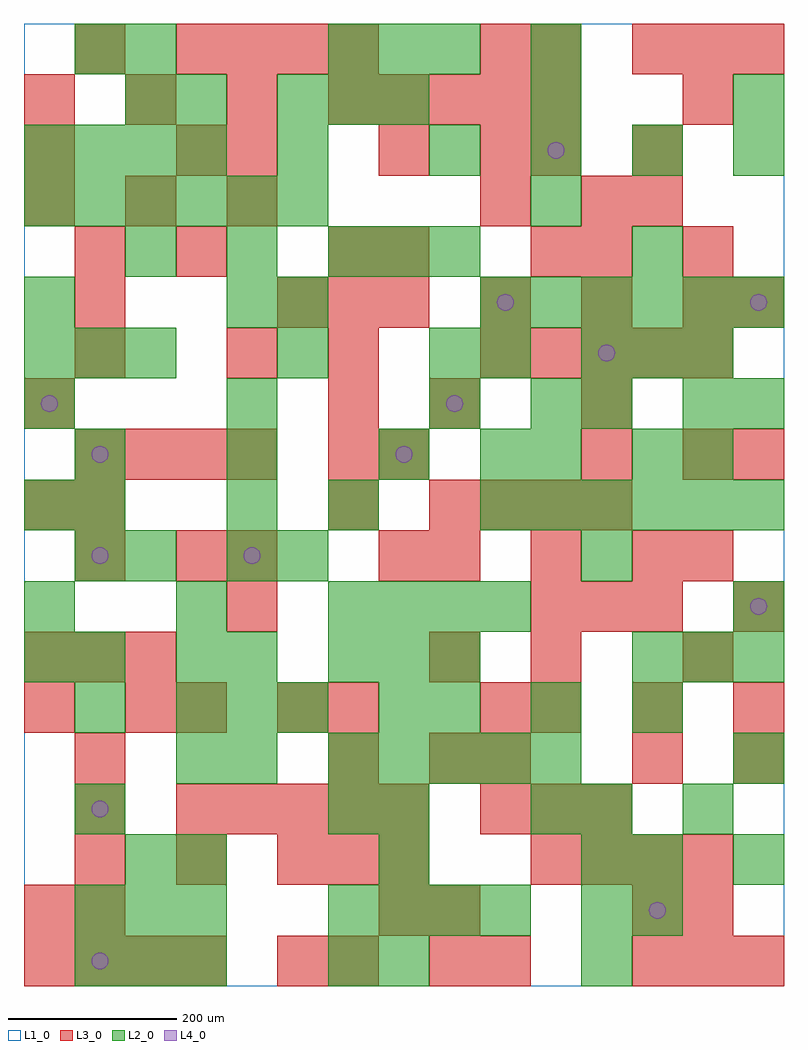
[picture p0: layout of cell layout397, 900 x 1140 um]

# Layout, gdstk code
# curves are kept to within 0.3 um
import gdstk
lib = gdstk.Library(unit=1e-6, precision=1e-09)
def R(c, l, rs):  # rectangles x0, y0, x1, y1
    for r in rs: c.add(gdstk.rectangle(r[:2], r[2:], *l))
def A(c, l, x, y, w, h, nx, ny, dx, dy):  # array of equal rectangles
    R(c, l, [(x+i*dx, y+j*dy, x+i*dx+w, y+j*dy+h) for i in range(nx) for j in range(ny)])
def P(c, l, *ps):  # polygons
    for p in ps: c.add(gdstk.Polygon(p, *l))
L1_0 = (1, 0)
L2_0 = (2, 0)
L3_0 = (3, 0)
L4_0 = (4, 0)

layout397 = lib.new_cell('layout397')
R(layout397, L1_0, [(0,0,900,1140)])
A(layout397, L2_0, 60, 0, 60, 60, 3, 2, 60, 60)
A(layout397, L2_0, 360, 60, 60, 60, 4, 1, 60, 0)
A(layout397, L2_0, 180, 120, 60, 60, 3, 1, 240, 0)
A(layout397, L2_0, 240, 240, 60, 60, 1, 3, 0, 120)
A(layout397, L2_0, 360, 240, 60, 60, 5, 1, 60, 0)
A(layout397, L2_0, 180, 300, 60, 60, 3, 1, 60, 0)
A(layout397, L2_0, 480, 300, 60, 60, 3, 1, 120, 0)
A(layout397, L2_0, 360, 360, 60, 60, 3, 2, 60, 720)
A(layout397, L2_0, 720, 360, 60, 60, 3, 1, 60, 0)
A(layout397, L2_0, 0, 420, 60, 60, 3, 1, 180, 0)
A(layout397, L2_0, 420, 420, 60, 60, 3, 1, 60, 0)
A(layout397, L2_0, 540, 540, 60, 60, 6, 2, 60, 240)
A(layout397, L2_0, 60, 600, 60, 60, 3, 1, 180, 0)
A(layout397, L2_0, 0, 660, 60, 60, 3, 1, 240, 0)
A(layout397, L2_0, 0, 720, 60, 60, 3, 1, 60, 0)
A(layout397, L2_0, 660, 720, 60, 60, 3, 1, 60, 0)
A(layout397, L2_0, 120, 840, 60, 60, 3, 1, 120, 0)
A(layout397, L2_0, 0, 900, 60, 60, 6, 1, 60, 0)
A(layout397, L2_0, 0, 960, 60, 60, 4, 1, 60, 0)
A(layout397, L2_0, 480, 960, 60, 60, 4, 1, 120, 0)
A(layout397, L2_0, 300, 1020, 60, 60, 3, 1, 60, 0)
R(layout397, L2_0, [(360,0,420,60), (420,0,480,60), (660,0,720,60), (660,60,720,120), (720,60,780,120), (120,120,180,180), (720,120,780,180), (840,120,900,180), (60,180,120,240), (360,180,420,240), (420,180,480,240), (600,180,660,240), (660,180,720,240), (780,180,840,240), (180,240,240,300), (840,240,900,300), (60,300,120,360), (420,300,480,360), (0,360,60,420), (60,360,120,420), (180,360,240,420), (840,420,900,480), (60,480,120,540), (120,480,180,540), (300,480,360,540), (660,480,720,540), (0,540,60,600), (60,540,120,600), (240,540,300,600), (360,540,420,600), (540,600,600,660), (600,600,660,660), (720,600,780,660), (780,600,840,660), (600,660,660,720), (660,660,720,720), (780,660,840,720), (840,660,900,720), (300,720,360,780), (480,720,540,780), (540,720,600,780), (0,780,60,840), (240,780,300,840), (300,780,360,840), (420,840,480,900), (480,840,540,900), (720,840,780,900), (600,900,660,960), (300,960,360,1020), (120,1020,180,1080), (180,1020,240,1080), (600,1020,660,1080), (840,1020,900,1080), (60,1080,120,1140), (120,1080,180,1140), (600,1080,660,1140)])
A(layout397, L3_0, 0, 0, 60, 60, 4, 1, 60, 0)
A(layout397, L3_0, 360, 0, 60, 60, 1, 3, 0, 120)
A(layout397, L3_0, 720, 0, 60, 60, 3, 2, 60, 1080)
A(layout397, L3_0, 0, 60, 60, 60, 1, 3, 0, 240)
A(layout397, L3_0, 60, 120, 60, 60, 3, 1, 120, 0)
A(layout397, L3_0, 600, 120, 60, 60, 4, 1, 60, 0)
A(layout397, L3_0, 180, 180, 60, 60, 5, 1, 60, 0)
A(layout397, L3_0, 540, 180, 60, 60, 3, 1, 60, 0)
A(layout397, L3_0, 840, 240, 60, 60, 1, 4, 0, 180)
A(layout397, L3_0, 600, 300, 60, 60, 3, 1, 120, 0)
A(layout397, L3_0, 0, 360, 60, 60, 3, 1, 60, 0)
A(layout397, L3_0, 780, 360, 60, 60, 1, 3, 0, 120)
A(layout397, L3_0, 600, 420, 60, 60, 3, 1, 60, 0)
A(layout397, L3_0, 240, 480, 60, 60, 1, 3, 0, 240)
A(layout397, L3_0, 480, 480, 60, 60, 3, 1, 120, 0)
A(layout397, L3_0, 360, 540, 60, 60, 1, 4, 0, 60)
A(layout397, L3_0, 480, 540, 60, 60, 4, 1, 60, 0)
A(layout397, L3_0, 60, 600, 60, 60, 4, 1, 60, 0)
A(layout397, L3_0, 60, 720, 60, 60, 1, 3, 0, 60)
A(layout397, L3_0, 540, 720, 60, 60, 5, 1, 60, 0)
A(layout397, L3_0, 300, 780, 60, 60, 3, 1, 60, 0)
A(layout397, L3_0, 540, 780, 60, 60, 3, 1, 120, 0)
A(layout397, L3_0, 600, 840, 60, 60, 1, 3, 0, 120)
A(layout397, L3_0, 0, 900, 60, 60, 3, 1, 120, 0)
A(layout397, L3_0, 0, 1020, 60, 60, 4, 1, 120, 0)
A(layout397, L3_0, 420, 1020, 60, 60, 4, 1, 60, 0)
A(layout397, L3_0, 180, 1080, 60, 60, 4, 1, 60, 0)
R(layout397, L3_0, [(300,0,360,60), (480,0,540,60), (540,0,600,60), (60,60,120,120), (420,60,480,120), (480,60,540,120), (720,60,780,120), (780,60,840,120), (420,120,480,180), (60,180,120,240), (60,240,120,300), (480,240,540,300), (540,240,600,300), (720,240,780,300), (120,300,180,360), (180,300,240,360), (300,300,360,360), (360,300,420,360), (540,300,600,360), (480,360,540,420), (600,360,660,420), (240,420,300,480), (60,480,120,540), (180,480,240,540), (420,480,480,540), (60,540,120,600), (420,600,480,660), (660,600,720,660), (0,660,60,720), (480,660,540,720), (660,660,720,720), (180,840,240,900), (360,840,420,900), (420,840,480,900), (660,840,720,900), (780,840,840,900), (540,900,600,960), (660,900,720,960), (720,900,780,960), (0,960,60,1020), (180,960,240,1020), (420,960,480,1020), (540,960,600,1020), (720,960,780,1020), (780,1020,840,1080), (60,1080,120,1140), (540,1080,600,1140)])
P(layout397, L4_0, [(40,690),(39.239,693.827),(37.071,697.071),(33.827,699.239),(30,700),(26.173,699.239),(22.929,697.071),(20.761,693.827),(20,690),(20.761,686.173),(22.929,682.929),(26.173,680.761),(30,680),(33.827,680.761),(37.071,682.929),(39.239,686.173)],
  [(100,30),(99.239,33.827),(97.071,37.071),(93.827,39.239),(90,40),(86.173,39.239),(82.929,37.071),(80.761,33.827),(80,30),(80.761,26.173),(82.929,22.929),(86.173,20.761),(90,20),(93.827,20.761),(97.071,22.929),(99.239,26.173)],
  [(100,210),(99.239,213.827),(97.071,217.071),(93.827,219.239),(90,220),(86.173,219.239),(82.929,217.071),(80.761,213.827),(80,210),(80.761,206.173),(82.929,202.929),(86.173,200.761),(90,200),(93.827,200.761),(97.071,202.929),(99.239,206.173)],
  [(100,510),(99.239,513.827),(97.071,517.071),(93.827,519.239),(90,520),(86.173,519.239),(82.929,517.071),(80.761,513.827),(80,510),(80.761,506.173),(82.929,502.929),(86.173,500.761),(90,500),(93.827,500.761),(97.071,502.929),(99.239,506.173)],
  [(100,630),(99.239,633.827),(97.071,637.071),(93.827,639.239),(90,640),(86.173,639.239),(82.929,637.071),(80.761,633.827),(80,630),(80.761,626.173),(82.929,622.929),(86.173,620.761),(90,620),(93.827,620.761),(97.071,622.929),(99.239,626.173)],
  [(280,510),(279.239,513.827),(277.071,517.071),(273.827,519.239),(270,520),(266.173,519.239),(262.929,517.071),(260.761,513.827),(260,510),(260.761,506.173),(262.929,502.929),(266.173,500.761),(270,500),(273.827,500.761),(277.071,502.929),(279.239,506.173)],
  [(460,630),(459.239,633.827),(457.071,637.071),(453.827,639.239),(450,640),(446.173,639.239),(442.929,637.071),(440.761,633.827),(440,630),(440.761,626.173),(442.929,622.929),(446.173,620.761),(450,620),(453.827,620.761),(457.071,622.929),(459.239,626.173)],
  [(520,690),(519.239,693.827),(517.071,697.071),(513.827,699.239),(510,700),(506.173,699.239),(502.929,697.071),(500.761,693.827),(500,690),(500.761,686.173),(502.929,682.929),(506.173,680.761),(510,680),(513.827,680.761),(517.071,682.929),(519.239,686.173)],
  [(580,810),(579.239,813.827),(577.071,817.071),(573.827,819.239),(570,820),(566.173,819.239),(562.929,817.071),(560.761,813.827),(560,810),(560.761,806.173),(562.929,802.929),(566.173,800.761),(570,800),(573.827,800.761),(577.071,802.929),(579.239,806.173)],
  [(640,990),(639.239,993.827),(637.071,997.071),(633.827,999.239),(630,1000),(626.173,999.239),(622.929,997.071),(620.761,993.827),(620,990),(620.761,986.173),(622.929,982.929),(626.173,980.761),(630,980),(633.827,980.761),(637.071,982.929),(639.239,986.173)],
  [(700,750),(699.239,753.827),(697.071,757.071),(693.827,759.239),(690,760),(686.173,759.239),(682.929,757.071),(680.761,753.827),(680,750),(680.761,746.173),(682.929,742.929),(686.173,740.761),(690,740),(693.827,740.761),(697.071,742.929),(699.239,746.173)],
  [(760,90),(759.239,93.827),(757.071,97.071),(753.827,99.239),(750,100),(746.173,99.239),(742.929,97.071),(740.761,93.827),(740,90),(740.761,86.173),(742.929,82.929),(746.173,80.761),(750,80),(753.827,80.761),(757.071,82.929),(759.239,86.173)],
  [(880,450),(879.239,453.827),(877.071,457.071),(873.827,459.239),(870,460),(866.173,459.239),(862.929,457.071),(860.761,453.827),(860,450),(860.761,446.173),(862.929,442.929),(866.173,440.761),(870,440),(873.827,440.761),(877.071,442.929),(879.239,446.173)],
  [(880,810),(879.239,813.827),(877.071,817.071),(873.827,819.239),(870,820),(866.173,819.239),(862.929,817.071),(860.761,813.827),(860,810),(860.761,806.173),(862.929,802.929),(866.173,800.761),(870,800),(873.827,800.761),(877.071,802.929),(879.239,806.173)])

lib.write_gds('layout397.gds')
